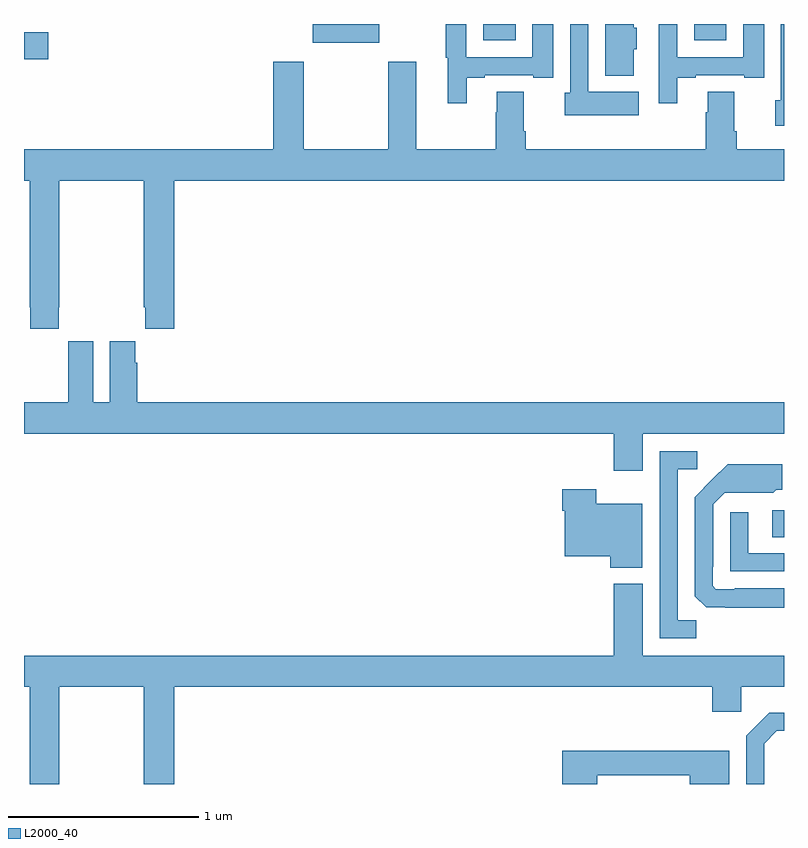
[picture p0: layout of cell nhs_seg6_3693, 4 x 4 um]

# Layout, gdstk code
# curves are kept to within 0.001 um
import gdstk
lib = gdstk.Library(unit=1e-6, precision=1e-09)
def R(c, l, rs):  # rectangles x0, y0, x1, y1
    for r in rs: c.add(gdstk.rectangle(r[:2], r[2:], *l))
def P(c, l, *ps):  # polygons
    for p in ps: c.add(gdstk.Polygon(p, *l))
L2000_40 = (2000, 40)

nhs_seg6_3693 = lib.new_cell('nhs_seg6_3693')
R(nhs_seg6_3693, L2000_40, [(330.939,938.8,331,938.94), (327,941.314,327.127,941.456), (328.52,941.402,328.87,941.5), (329.417,941.414,329.587,941.5), (330.527,941.414,330.697,941.5)])
P(nhs_seg6_3693, L2000_40, [(331,941.5),(330.984,941.5),(330.984,941.099),(330.953,941.099),(330.953,940.964),(331,940.964)],
  [(330.235,941.143),(329.97,941.143),(329.97,941.5),(329.874,941.5),(329.874,941.139),(329.846,941.139),(329.846,941.021),(330.235,941.021)],
  [(330.208,941.367),(330.226,941.367),(330.226,941.481),(330.208,941.481),(330.208,941.5),(330.059,941.5),(330.059,941.228),(330.208,941.228)],
  [(329.329,941.217),(329.425,941.217),(329.425,941.229),(329.681,941.229),(329.681,941.217),(329.785,941.217),(329.785,941.5),(329.675,941.5),(329.675,941.325),(329.328,941.325),(329.328,941.5),(329.22,941.5),(329.22,941.322),(329.231,941.322),(329.231,941.082),(329.329,941.082)],
  [(330.439,941.217),(330.535,941.217),(330.535,941.229),(330.791,941.229),(330.791,941.217),(330.895,941.217),(330.895,941.5),(330.785,941.5),(330.785,941.325),(330.438,941.325),(330.438,941.5),(330.342,941.5),(330.342,941.322),(330.341,941.322),(330.341,941.082),(330.439,941.082)],
  [(331,940.84),(330.752,940.84),(330.752,940.936),(330.739,940.936),(330.739,941.144),(330.599,941.144),(330.599,941.036),(330.587,941.036),(330.587,940.84),(329.642,940.84),(329.642,940.936),(329.629,940.936),(329.629,941.144),(329.489,941.144),(329.489,941.036),(329.482,941.036),(329.482,940.84),(329.065,940.84),(329.065,941.302),(328.918,941.302),(328.918,940.84),(328.473,940.84),(328.473,941.302),(328.313,941.302),(328.313,940.84),(327,940.84),(327,940.676),(327.031,940.676),(327.031,940.009),(327.033,940.009),(327.033,939.897),(327.183,939.897),(327.183,940.009),(327.186,940.009),(327.186,940.676),(327.631,940.676),(327.631,940.009),(327.637,940.009),(327.637,939.897),(327.791,939.897),(327.791,940.676),(331,940.676)],
  [(330.256,939.344),(331,939.344),(331,939.508),(327.596,939.508),(327.596,939.716),(327.586,939.716),(327.586,939.829),(327.452,939.829),(327.452,939.508),(327.364,939.508),(327.364,939.829),(327.234,939.829),(327.234,939.716),(327.233,939.716),(327.233,939.508),(327,939.508),(327,939.344),(330.104,939.344),(330.104,939.15),(330.256,939.15)],
  [(330.537,938.363),(330.441,938.363),(330.441,939.156),(330.544,939.156),(330.544,939.252),(330.345,939.252),(330.345,938.268),(330.537,938.268)],
  [(331,938.529),(330.742,938.529),(330.742,938.526),(330.642,938.526),(330.624,938.544),(330.624,938.644),(330.627,938.644),(330.627,938.973),(330.687,939.033),(330.944,939.032),(330.96,939.048),(330.991,939.048),(330.991,939.184),(330.703,939.184),(330.531,939.01),(330.531,938.488),(330.59,938.429),(331,938.428)],
  [(330.253,938.974),(330.012,938.974),(330.012,939.052),(329.834,939.052),(329.834,938.939),(329.846,938.939),(329.846,938.699),(330.086,938.699),(330.086,938.639),(330.253,938.639)],
  [(331,938.715),(330.813,938.715),(330.813,938.929),(330.717,938.929),(330.717,938.619),(331,938.619)],
  [(327.186,938.012),(327.631,938.012),(327.631,937.5),(327.791,937.5),(327.791,938.012),(330.623,938.012),(330.623,937.881),(330.774,937.881),(330.774,938.012),(331,938.012),(331,938.176),(330.256,938.176),(330.256,938.554),(330.104,938.554),(330.104,938.176),(327,938.176),(327,938.012),(327.031,938.012),(327.031,937.5),(327.186,937.5)],
  [(330.897,937.713),(330.963,937.779),(331,937.779),(331,937.876),(330.922,937.876),(330.801,937.755),(330.801,937.5),(330.897,937.5)],
  [(330.017,937.546),(330.505,937.546),(330.505,937.5),(330.712,937.5),(330.712,937.675),(329.834,937.675),(329.834,937.5),(330.017,937.5)])

lib.write_gds('nhs_seg6_3693.gds')
